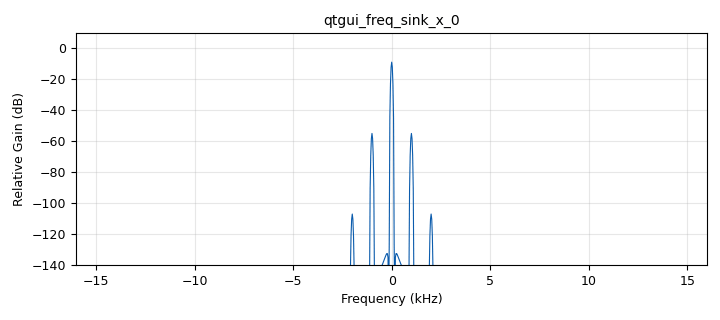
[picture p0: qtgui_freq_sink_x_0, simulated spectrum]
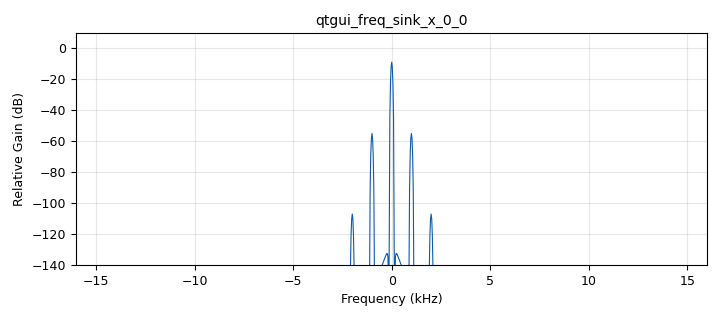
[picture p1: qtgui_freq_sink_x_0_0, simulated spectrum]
<?xml version='1.0' encoding='utf-8'?>
<?grc format='1' created='3.7.11'?>
<flow_graph>
<block>
<key>options</key>
<param><key>id</key><value>top_block</value></param>
<param><key>generate_options</key><value>qt_gui</value></param>
</block>
<block>
<key>variable_qtgui_range</key>
<param><key>id</key><value>A_c</value></param>
<param><key>value</key><value>1</value></param>
<param><key>label</key><value>carrier_amplitude</value></param>
<param><key>orient</key><value>Qt.Horizontal</value></param>
<param><key>start</key><value>0</value></param>
<param><key>step</key><value>.1</value></param>
<param><key>stop</key><value>2</value></param>
</block>
<block>
<key>variable_qtgui_range</key>
<param><key>id</key><value>beta</value></param>
<param><key>value</key><value>.01</value></param>
<param><key>label</key><value>beta</value></param>
<param><key>orient</key><value>Qt.Horizontal</value></param>
<param><key>start</key><value>0</value></param>
<param><key>step</key><value>.1</value></param>
<param><key>stop</key><value>100</value></param>
</block>
<block>
<key>variable_qtgui_range</key>
<param><key>id</key><value>f_c</value></param>
<param><key>value</key><value>0</value></param>
<param><key>label</key><value>carrier_freq</value></param>
<param><key>orient</key><value>Qt.Horizontal</value></param>
<param><key>start</key><value>0</value></param>
<param><key>step</key><value>10</value></param>
<param><key>stop</key><value>2000</value></param>
<param><key>rangeType</key><value>int</value></param>
</block>
<block>
<key>variable_qtgui_range</key>
<param><key>id</key><value>f_m</value></param>
<param><key>value</key><value>1000</value></param>
<param><key>label</key><value>msg_freq</value></param>
<param><key>orient</key><value>Qt.Horizontal</value></param>
<param><key>start</key><value>1</value></param>
<param><key>step</key><value>10</value></param>
<param><key>stop</key><value>2000</value></param>
<param><key>rangeType</key><value>int</value></param>
</block>
<block>
<key>variable</key>
<param><key>id</key><value>samp_rate</value></param>
<param><key>value</key><value>32000</value></param>
</block>
<block>
<key>analog_sig_source_x</key>
<param><key>id</key><value>Carrier_1</value></param>
<param><key>amp</key><value>beta</value></param>
<param><key>freq</key><value>f_m</value></param>
<param><key>offset</key><value>0</value></param>
<param><key>type</key><value>float</value></param>
<param><key>samp_rate</key><value>samp_rate</value></param>
<param><key>waveform</key><value>analog.GR_SIN_WAVE</value></param>
</block>
<block>
<key>analog_sig_source_x</key>
<param><key>id</key><value>Carrier_1_0</value></param>
<param><key>amp</key><value>1</value></param>
<param><key>freq</key><value>f_c</value></param>
<param><key>offset</key><value>0</value></param>
<param><key>type</key><value>complex</value></param>
<param><key>samp_rate</key><value>samp_rate</value></param>
<param><key>waveform</key><value>analog.GR_COS_WAVE</value></param>
</block>
<block>
<key>analog_phase_modulator_fc</key>
<param><key>id</key><value>analog_phase_modulator_fc_0</value></param>
<param><key>sensitivity</key><value>1</value></param>
</block>
<block>
<key>blocks_multiply_const_vxx</key>
<param><key>id</key><value>blocks_multiply_const_vxx_0_0</value></param>
<param><key>const</key><value>A_c</value></param>
<param><key>type</key><value>complex</value></param>
</block>
<block>
<key>blocks_multiply_xx</key>
<param><key>id</key><value>blocks_multiply_xx_1</value></param>
<param><key>type</key><value>complex</value></param>
</block>
<block>
<key>import</key>
<param><key>id</key><value>import_0</value></param>
<param><key>import</key><value>import math</value></param>
</block>
<block>
<key>qtgui_freq_sink_x</key>
<param><key>id</key><value>qtgui_freq_sink_x_0</value></param>
<param><key>bw</key><value>samp_rate</value></param>
<param><key>fc</key><value>0</value></param>
<param><key>fftsize</key><value>1024</value></param>
<param><key>showports</key><value>True</value></param>
<param><key>type</key><value>complex</value></param>
<param><key>wintype</key><value>firdes.WIN_BLACKMAN_hARRIS</value></param>
</block>
<block>
<key>qtgui_freq_sink_x</key>
<param><key>id</key><value>qtgui_freq_sink_x_0_0</value></param>
<param><key>bw</key><value>samp_rate</value></param>
<param><key>fc</key><value>0</value></param>
<param><key>fftsize</key><value>1024</value></param>
<param><key>showports</key><value>True</value></param>
<param><key>type</key><value>complex</value></param>
<param><key>wintype</key><value>firdes.WIN_BLACKMAN_hARRIS</value></param>
<param><key>units</key><value></value></param>
</block>
<connection><source_block_id>Carrier_1</source_block_id><sink_block_id>analog_phase_modulator_fc_0</sink_block_id><source_key>0</source_key><sink_key>0</sink_key></connection>
<connection><source_block_id>Carrier_1_0</source_block_id><sink_block_id>blocks_multiply_xx_1</sink_block_id><source_key>0</source_key><sink_key>1</sink_key></connection>
<connection><source_block_id>analog_phase_modulator_fc_0</source_block_id><sink_block_id>blocks_multiply_const_vxx_0_0</sink_block_id><source_key>0</source_key><sink_key>0</sink_key></connection>
<connection><source_block_id>blocks_multiply_const_vxx_0_0</source_block_id><sink_block_id>blocks_multiply_xx_1</sink_block_id><source_key>0</source_key><sink_key>0</sink_key></connection>
<connection><source_block_id>blocks_multiply_xx_1</source_block_id><sink_block_id>qtgui_freq_sink_x_0</sink_block_id><source_key>0</source_key><sink_key>0</sink_key></connection>
<connection><source_block_id>blocks_multiply_xx_1</source_block_id><sink_block_id>qtgui_freq_sink_x_0_0</sink_block_id><source_key>0</source_key><sink_key>0</sink_key></connection>
</flow_graph>
